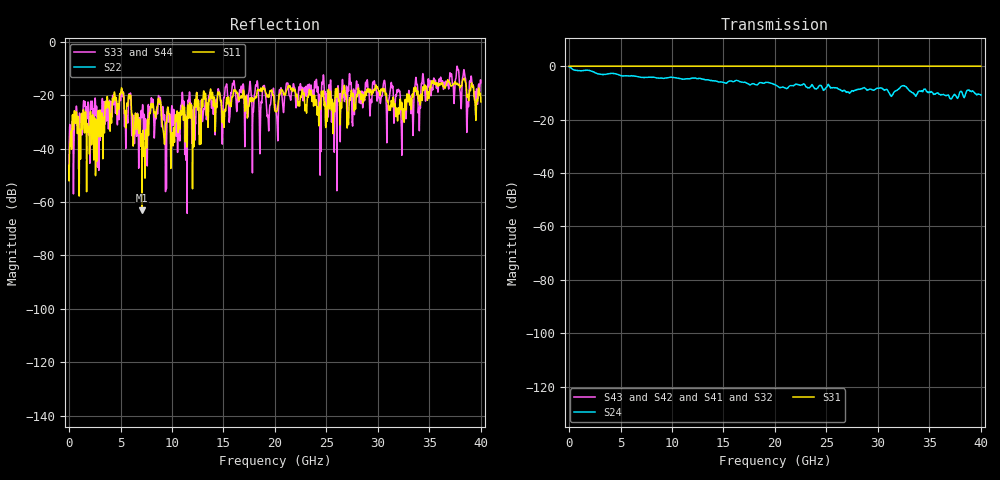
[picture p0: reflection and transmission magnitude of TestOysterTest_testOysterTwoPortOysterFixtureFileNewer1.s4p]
! File created by SignalIntegrity v1.1.1: Signal and Power Integrity Tools
! https://github.com/TeledyneLeCroy/SignalIntegrity
# MHz MA S R 50.0
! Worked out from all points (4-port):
!   8000 points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, 5 MHz to 40 GHz, reference 50 ohm
!   strongest paths, dB at 5 MHz, 10.01 GHz, 20 GHz, 30 GHz, 40 GHz:
!     S31: 0.0, 0.0, 0.0, 0.0, 0.0
!     S24: -0.2, -4.2, -7.0, -8.3, -10.8
!     S43: -, -, -, -, -
!     S42: -, -, -, -, -
!     S41: -, -, -, -, -
!     S32: -, -, -, -, -
!   lowest |S11| = -63.1 dB at 7.095 GHz (marker M1), VSWR 1.00, Z = 49.9 + j0.0452 ohm
!   |S11| at or under -10 dB: start of sweep to end of sweep
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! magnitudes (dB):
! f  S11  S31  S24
! 5 MHz  -46.2  0.0  -0.2
! 5.095 GHz  -17.2  0.0  -3.6
! 7.095 GHz  -63.1  0.0  -4.2
! 16.16 GHz  -18.2  0.0  -5.4
! 29.64 GHz  -17.8  0.0  -8.9
! 32.41 GHz  -29.1  0.0  -7.3
! 40 GHz  -22.5  0.0  -10.8
